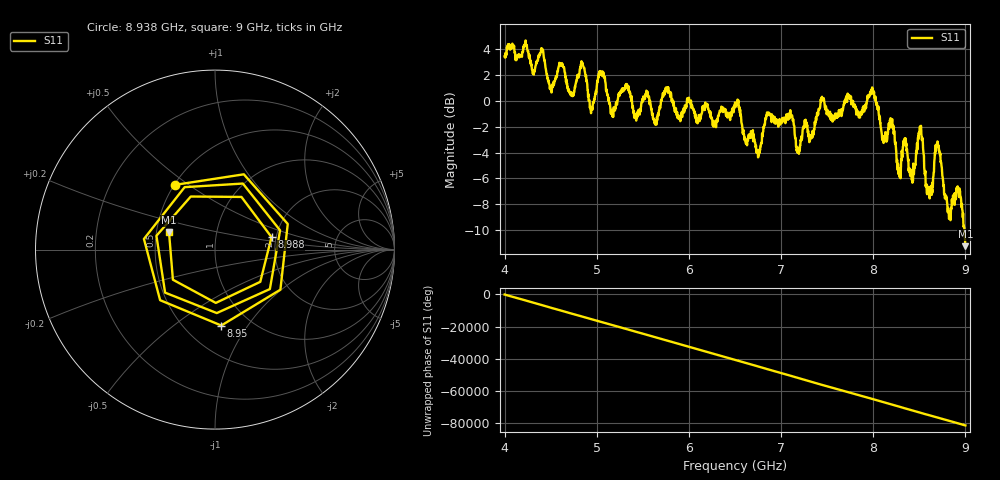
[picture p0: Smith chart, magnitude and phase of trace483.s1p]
! Created with skrf 1.8.0 (http://scikit-rf.org).
# Hz S RI R 50.0
!freq ReS11 ImS11
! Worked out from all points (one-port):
!   1601 points, 4 GHz to 9 GHz, reference 50 ohm
!   lowest |S11| = -11.3 dB at 9 GHz (marker M1), VSWR 1.75, Z = 29.1 + j6.08 ohm
!   |S11| at or under -10 dB: 8.989446 GHz to end of sweep
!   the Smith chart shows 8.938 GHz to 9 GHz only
!   S11 on the Smith chart (normalised r, x): 8.938 GHz: 0.50, +0.44; 8.95 GHz: 0.74, -0.76; 8.988 GHz: 1.89, +0.29; 9 GHz: 0.58, +0.12
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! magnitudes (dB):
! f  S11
! 4 GHz  3.5
! 4.625 GHz  2.9
! 4.725 GHz  0.6
! 4.847 GHz  2.9
! 4.941 GHz  -0.6
! 5.047 GHz  2.2
! 5.162 GHz  -0.9
! 5.25 GHz  0.4
! 5.875 GHz  -1.3
! 6.5 GHz  -0.1
! 6.75 GHz  -4.4
! 6.853 GHz  -1.0
! 7.125 GHz  -1.4
! 7.188 GHz  -3.8
! 7.444 GHz  0.3
! 7.75 GHz  0.4
! 7.991 GHz  1.0
! 8.206 GHz  -1.4
! 8.275 GHz  -5.6
! 8.375 GHz  -4.4
! 8.509 GHz  -2.2
! 8.594 GHz  -7.2
! 8.694 GHz  -3.3
! 8.819 GHz  -8.5
! 8.938 GHz  -7.5
! 8.95 GHz  -7.4
! 8.988 GHz  -9.8
! 9 GHz  -11.3
